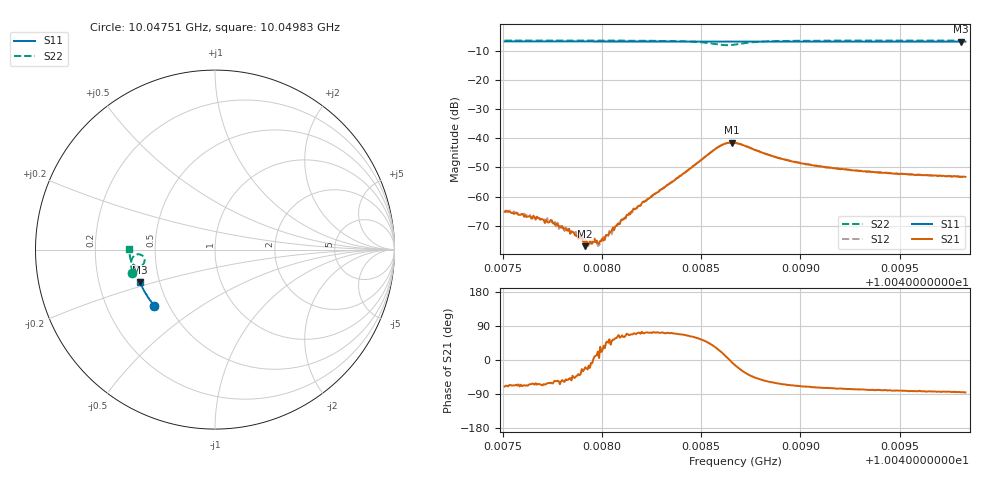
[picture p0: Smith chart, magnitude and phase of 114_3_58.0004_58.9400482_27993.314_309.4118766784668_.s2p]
#  HZ  S  RI  R  50.00
! Rohde & Schwarz Vector Network Analyzer
! Rohde-Schwarz,ZNB20-2Port,1311601062101988,3.16
! Created: UTC 3/21/2024, 12:55:21 AM
! freq[Hz]  re:S11  im:S11  re:S21  im:S21  re:S12  im:S12  re:S22  im:S22
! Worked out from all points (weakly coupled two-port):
!   401 points, 10.04751 GHz to 10.04983 GHz, reference 50 ohm
!   highest |S21| = -41.47 dB at 10.04865 GHz (marker M1); lowest = -77.0 dB at 10.04792 GHz (marker M2)
!   lowest |S11| = -6.8 dB at 10.04981 GHz (marker M3), VSWR 2.68, Z = 19.4 - j8.97 ohm
!   |S11| at or under -10 dB: nowhere
!   |S22| runs from -8.0 to -6.4 dB; largest |S21 - S12| = 0.00059
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1.0047509e10  -0.3383 -0.312  0.000189 -0.000517  0.000232 -0.000487  -0.4603 -0.1288
1.0047544e10  -0.3397 -0.3102  0.000202 -0.000481  0.00024 -0.000505  -0.4609 -0.1261
1.0047747e10  -0.3484 -0.2997  0.000186 -0.000344  0.000223 -0.000292  -0.4638 -0.1114
1.0047846e10  -0.3524 -0.2945  0.000149 -0.000205  0.00017 -0.00018  -0.4651 -0.1039
1.0047898e10  -0.3546 -0.2918  0.000185 -8.28e-05  0.000176 -9.09e-05  -0.4657 -0.0996
1.0047915e10  -0.3553 -0.291  0.000133 -4.63e-05  0.000134 -5.43e-05  -0.4659 -0.0981
1.0047927e10  -0.3559 -0.2903  0.000138 -6.43e-05  0.000137 -4.18e-05  -0.466 -0.0973
1.004795e10  -0.3567 -0.2891  0.000153 -2.33e-05  0.000165 -5.41e-06  -0.4664 -0.0953
1.0047979e10  -0.3579 -0.2875  0.000144 5.96e-05  0.00014 2.26e-05  -0.4666 -0.0929
1.0047991e10  -0.3583 -0.2868  0.000142 9.92e-05  0.000143 6.53e-05  -0.4666 -0.0919
1.0048008e10  -0.3591 -0.2859  0.00014 0.000107  0.000163 0.000145  -0.4668 -0.0907
1.0048113e10  -0.3632 -0.2805  0.00021 0.000373  0.000142 0.000387  -0.4672 -0.0812
1.0048287e10  -0.3698 -0.271  0.000381 0.00116  0.00032 0.00123  -0.4659 -0.0624
1.0048577e10  -0.3799 -0.2545  0.00582 0.00351  0.0056 0.00389  -0.412 -0.0292
1.0048618e10  -0.3812 -0.2525  0.00784 0.00179  0.00777 0.00225  -0.3951 -0.0465
1.0048653e10  -0.3823 -0.2508  0.00841 -0.000763  0.00849 -0.000219  -0.3935 -0.0694
1.004867e10  -0.3827 -0.2499  0.0081 -0.00196  0.00827 -0.00141  -0.398 -0.0795
1.0048885e10  -0.3905 -0.2381  0.0022 -0.00405  0.00249 -0.00397  -0.4599 -0.0777
1.0049059e10  -0.3962 -0.228  0.00108 -0.00325  0.0013 -0.00322  -0.4699 -0.0566
1.0049448e10  -0.408 -0.205  0.000446 -0.00246  0.000599 -0.00249  -0.4755 -0.0224
1.0049808e10  -0.4174 -0.1832  0.000182 -0.00218  0.000322 -0.00218  -0.4763 0.00432
1.0049831e10  -0.4181 -0.1817  0.00017 -0.00217  0.000313 -0.0022  -0.4764 0.00581
